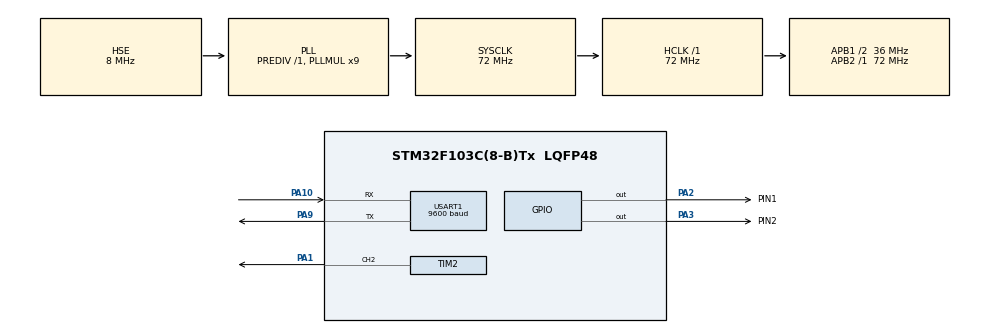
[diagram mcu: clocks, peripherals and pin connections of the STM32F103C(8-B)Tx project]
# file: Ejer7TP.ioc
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Dma.Request0=USART1_RX
Dma.Request1=USART1_TX
Dma.USART1_RX.0.Direction=DMA_PERIPH_TO_MEMORY
Dma.USART1_RX.0.Instance=DMA1_Channel5
Dma.USART1_RX.0.MemDataAlignment=DMA_MDATAALIGN_BYTE
Dma.USART1_RX.0.MemInc=DMA_MINC_ENABLE
Dma.USART1_RX.0.Mode=DMA_NORMAL
Dma.USART1_RX.0.PeriphDataAlignment=DMA_PDATAALIGN_BYTE
Dma.USART1_RX.0.PeriphInc=DMA_PINC_DISABLE
Dma.USART1_RX.0.Priority=DMA_PRIORITY_LOW
Dma.USART1_TX.1.Direction=DMA_MEMORY_TO_PERIPH
Dma.USART1_TX.1.Instance=DMA1_Channel4
Dma.USART1_TX.1.MemDataAlignment=DMA_MDATAALIGN_BYTE
Dma.USART1_TX.1.MemInc=DMA_MINC_ENABLE
Dma.USART1_TX.1.Mode=DMA_NORMAL
Dma.USART1_TX.1.PeriphDataAlignment=DMA_PDATAALIGN_BYTE
Dma.USART1_TX.1.PeriphInc=DMA_PINC_DISABLE
Dma.USART1_TX.1.Priority=DMA_PRIORITY_LOW
Mcu.Family=STM32F1
Mcu.Name=STM32F103C(8-B)Tx
Mcu.Package=LQFP48
NVIC.DMA1_Channel4_IRQn=true\:0\:0\:false\:false\:true\:false\:true\:true
NVIC.DMA1_Channel5_IRQn=true\:0\:0\:false\:false\:true\:false\:true\:true
NVIC.PriorityGroup=NVIC_PRIORITYGROUP_4
NVIC.TIM2_IRQn=true\:0\:0\:false\:false\:true\:true\:true\:true
NVIC.USART1_IRQn=true\:0\:0\:false\:false\:true\:true\:true\:true
PA1.Signal=S_TIM2_CH2
PA10.Mode=Asynchronous
PA10.Signal=USART1_RX
PA13.Mode=Serial_Wire
PA13.Signal=SYS_JTMS-SWDIO
PA14.Mode=Serial_Wire
PA14.Signal=SYS_JTCK-SWCLK
PA2.GPIO_Label=PIN1
PA2.Signal=GPIO_Output
PA3.GPIO_Label=PIN2
PA3.Signal=GPIO_Output
PA9.Mode=Asynchronous
PA9.Signal=USART1_TX
PD0-OSC_IN.Mode=HSE-External-Oscillator
PD0-OSC_IN.Signal=RCC_OSC_IN
PD1-OSC_OUT.Mode=HSE-External-Oscillator
PD1-OSC_OUT.Signal=RCC_OSC_OUT
ProjectManager.HeapSize=0x200
ProjectManager.StackSize=0x400
ProjectManager.TargetToolchain=STM32CubeIDE
RCC.AHBFreq_Value=72000000
RCC.APB1CLKDivider=RCC_HCLK_DIV2
RCC.APB1Freq_Value=36000000
RCC.APB1TimFreq_Value=72000000
RCC.APB2Freq_Value=72000000
RCC.APB2TimFreq_Value=72000000
RCC.HCLKFreq_Value=72000000
RCC.PLLMUL=RCC_PLL_MUL9
RCC.PLLSourceVirtual=RCC_PLLSOURCE_HSE
RCC.SYSCLKFreq_VALUE=72000000
RCC.SYSCLKSource=RCC_SYSCLKSOURCE_PLLCLK
RCC.USBFreq_Value=72000000
SH.S_TIM2_CH2.0=TIM2_CH2,PWM Generation2 CH2
TIM2.Channel-PWM\ Generation2\ CH2=TIM_CHANNEL_2
TIM2.Period=99
TIM2.Prescaler=71
USART1.BaudRate=9600
USART1.VirtualMode=VM_ASYNC
VP_TIM3_VS_ClockSourceINT.Mode=Internal
board=custom

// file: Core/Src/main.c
/* USER CODE BEGIN Header */
/**
  ******************************************************************************
  * @file           : main.c
  * @brief          : Main program body
  ******************************************************************************
  * @attention
  *
  * Copyright (c) 2024 STMicroelectronics.
  * All rights reserved.
  *
  * This software is licensed under terms that can be found in the LICENSE file
  * in the root directory of this software component.
  * If no LICENSE file comes with this software, it is provided AS-IS.
  *
  ******************************************************************************
  */
/* USER CODE END Header */
#include "main.h"

/* USER CODE BEGIN Includes */
#include "string.h"
#include <stdio.h>
#include "stdlib.h"
/* USER CODE END Includes */

TIM_HandleTypeDef htim2;
TIM_HandleTypeDef htim3;

UART_HandleTypeDef huart1;
DMA_HandleTypeDef hdma_usart1_rx;
DMA_HandleTypeDef hdma_usart1_tx;

void SystemClock_Config(void);
static void MX_GPIO_Init(void);
static void MX_DMA_Init(void);
static void MX_TIM2_Init(void);
static void MX_TIM3_Init(void);
static void MX_USART1_UART_Init(void);

/* USER CODE BEGIN 0 */

uint16_t motor_speed;
char dato_rx[10];
char msg1[50];
char msg2[50];

void HAL_UART_ReadString(UART_HandleTypeDef *huart, char *string, uint8_t size);

/* USER CODE END 0 */

int main(void)
{

  /* MCU Configuration--------------------------------------------------------*/

  /* Reset of all peripherals, Initializes the Flash interface and the Systick. */
  HAL_Init();

  /* Configure the system clock */
  SystemClock_Config();

  /* Initialize all configured peripherals */
  MX_GPIO_Init();
  MX_DMA_Init();
  MX_TIM2_Init();
  MX_TIM3_Init();
  MX_USART1_UART_Init();
  /* USER CODE BEGIN 2 */
  HAL_TIM_Base_Start_IT(&htim3);
  HAL_TIM_Base_Start_IT(&htim2);

  /* USER CODE END 2 */

  /* Infinite loop */
  /* USER CODE BEGIN WHILE */
  HAL_TIM_PWM_Start(&htim2, TIM_CHANNEL_2);

  while (1)

     {

         HAL_UART_ReadString(&huart1, dato_rx, 10);
         int motor_speed = atoi((char *)dato_rx);

         if (motor_speed >=0 && motor_speed <= 100) {
             HAL_GPIO_WritePin(GPIOA, PIN1_Pin, 1);
             HAL_GPIO_WritePin(GPIOA, PIN2_Pin, 0);
        	 __HAL_TIM_SET_COMPARE(&htim2, TIM_CHANNEL_2, motor_speed);
        	 sprintf(msg1, "Velocidad del motor: %u%%\r\n", motor_speed);
        	 HAL_UART_Transmit(&huart1, (uint8_t*)msg1, strlen(msg1), HAL_MAX_DELAY);

             } else {
             sprintf(msg2, "//No valido// Rango permitido: 0 a 100\r\n");
             HAL_UART_Transmit(&huart1, (uint8_t*)msg2, strlen(msg2), HAL_MAX_DELAY);
             }

    /* USER CODE END WHILE */

  }
}

void SystemClock_Config(void)
{
  RCC_OscInitTypeDef RCC_OscInitStruct = {0};
  RCC_ClkInitTypeDef RCC_ClkInitStruct = {0};

  /** Initializes the RCC Oscillators according to the specified parameters
  * in the RCC_OscInitTypeDef structure.
  */
  RCC_OscInitStruct.OscillatorType = RCC_OSCILLATORTYPE_HSE;
  RCC_OscInitStruct.HSEState = RCC_HSE_ON;
  RCC_OscInitStruct.HSEPredivValue = RCC_HSE_PREDIV_DIV1;
  RCC_OscInitStruct.HSIState = RCC_HSI_ON;
  RCC_OscInitStruct.PLL.PLLState = RCC_PLL_ON;
  RCC_OscInitStruct.PLL.PLLSource = RCC_PLLSOURCE_HSE;
  RCC_OscInitStruct.PLL.PLLMUL = RCC_PLL_MUL9;
  if (HAL_RCC_OscConfig(&RCC_OscInitStruct) != HAL_OK)
  {
    Error_Handler();
  }

  /** Initializes the CPU, AHB and APB buses clocks
  */
  RCC_ClkInitStruct.ClockType = RCC_CLOCKTYPE_HCLK|RCC_CLOCKTYPE_SYSCLK
                              |RCC_CLOCKTYPE_PCLK1|RCC_CLOCKTYPE_PCLK2;
  RCC_ClkInitStruct.SYSCLKSource = RCC_SYSCLKSOURCE_PLLCLK;
  RCC_ClkInitStruct.AHBCLKDivider = RCC_SYSCLK_DIV1;
  RCC_ClkInitStruct.APB1CLKDivider = RCC_HCLK_DIV2;
  RCC_ClkInitStruct.APB2CLKDivider = RCC_HCLK_DIV1;

  if (HAL_RCC_ClockConfig(&RCC_ClkInitStruct, FLASH_LATENCY_2) != HAL_OK)
  {
    Error_Handler();
  }
}

static void MX_TIM2_Init(void)
{

  TIM_MasterConfigTypeDef sMasterConfig = {0};
  TIM_OC_InitTypeDef sConfigOC = {0};

  htim2.Instance = TIM2;
  htim2.Init.Prescaler = 71;
  htim2.Init.CounterMode = TIM_COUNTERMODE_UP;
  htim2.Init.Period = 99;
  htim2.Init.ClockDivision = TIM_CLOCKDIVISION_DIV1;
  htim2.Init.AutoReloadPreload = TIM_AUTORELOAD_PRELOAD_DISABLE;
  if (HAL_TIM_PWM_Init(&htim2) != HAL_OK)
  {
    Error_Handler();
  }
  sMasterConfig.MasterOutputTrigger = TIM_TRGO_RESET;
  sMasterConfig.MasterSlaveMode = TIM_MASTERSLAVEMODE_DISABLE;
  if (HAL_TIMEx_MasterConfigSynchronization(&htim2, &sMasterConfig) != HAL_OK)
  {
    Error_Handler();
  }
  sConfigOC.OCMode = TIM_OCMODE_PWM1;
  sConfigOC.Pulse = 0;
  sConfigOC.OCPolarity = TIM_OCPOLARITY_HIGH;
  sConfigOC.OCFastMode = TIM_OCFAST_DISABLE;
  if (HAL_TIM_PWM_ConfigChannel(&htim2, &sConfigOC, TIM_CHANNEL_2) != HAL_OK)
  {
    Error_Handler();
  }
  HAL_TIM_MspPostInit(&htim2);

}

static void MX_TIM3_Init(void)
{

  TIM_ClockConfigTypeDef sClockSourceConfig = {0};
  TIM_MasterConfigTypeDef sMasterConfig = {0};

  htim3.Instance = TIM3;
  htim3.Init.Prescaler = 0;
  htim3.Init.CounterMode = TIM_COUNTERMODE_UP;
  htim3.Init.Period = 65535;
  htim3.Init.ClockDivision = TIM_CLOCKDIVISION_DIV1;
  htim3.Init.AutoReloadPreload = TIM_AUTORELOAD_PRELOAD_DISABLE;
  if (HAL_TIM_Base_Init(&htim3) != HAL_OK)
  {
    Error_Handler();
  }
  sClockSourceConfig.ClockSource = TIM_CLOCKSOURCE_INTERNAL;
  if (HAL_TIM_ConfigClockSource(&htim3, &sClockSourceConfig) != HAL_OK)
  {
    Error_Handler();
  }
  sMasterConfig.MasterOutputTrigger = TIM_TRGO_RESET;
  sMasterConfig.MasterSlaveMode = TIM_MASTERSLAVEMODE_DISABLE;
  if (HAL_TIMEx_MasterConfigSynchronization(&htim3, &sMasterConfig) != HAL_OK)
  {
    Error_Handler();
  }

}

static void MX_USART1_UART_Init(void)
{

  huart1.Instance = USART1;
  huart1.Init.BaudRate = 9600;
  huart1.Init.WordLength = UART_WORDLENGTH_8B;
  huart1.Init.StopBits = UART_STOPBITS_1;
  huart1.Init.Parity = UART_PARITY_NONE;
  huart1.Init.Mode = UART_MODE_TX_RX;
  huart1.Init.HwFlowCtl = UART_HWCONTROL_NONE;
  huart1.Init.OverSampling = UART_OVERSAMPLING_16;
  if (HAL_UART_Init(&huart1) != HAL_OK)
  {
    Error_Handler();
  }

}

static void MX_DMA_Init(void)
{

  /* DMA controller clock enable */
  __HAL_RCC_DMA1_CLK_ENABLE();

  /* DMA interrupt init */
  /* DMA1_Channel4_IRQn interrupt configuration */
  HAL_NVIC_SetPriority(DMA1_Channel4_IRQn, 0, 0);
  HAL_NVIC_EnableIRQ(DMA1_Channel4_IRQn);
  /* DMA1_Channel5_IRQn interrupt configuration */
  HAL_NVIC_SetPriority(DMA1_Channel5_IRQn, 0, 0);
  HAL_NVIC_EnableIRQ(DMA1_Channel5_IRQn);

}

static void MX_GPIO_Init(void)
{
  GPIO_InitTypeDef GPIO_InitStruct = {0};

  /* GPIO Ports Clock Enable */
  __HAL_RCC_GPIOD_CLK_ENABLE();
  __HAL_RCC_GPIOA_CLK_ENABLE();

  /*Configure GPIO pin Output Level */
  HAL_GPIO_WritePin(GPIOA, PIN1_Pin|PIN2_Pin, GPIO_PIN_RESET);

  /*Configure GPIO pins : PIN1_Pin PIN2_Pin */
  GPIO_InitStruct.Pin = PIN1_Pin|PIN2_Pin;
  GPIO_InitStruct.Mode = GPIO_MODE_OUTPUT_PP;
  GPIO_InitStruct.Pull = GPIO_NOPULL;
  GPIO_InitStruct.Speed = GPIO_SPEED_FREQ_LOW;
  HAL_GPIO_Init(GPIOA, &GPIO_InitStruct);

}

/* USER CODE BEGIN 4 */

void HAL_UART_ReadString(UART_HandleTypeDef *huart, char *string, uint8_t size)
{
    char caracter[1];
    uint8_t cont = 0;
    do
    	{
        HAL_UART_Receive(&huart1, (uint8_t*)caracter, 1, HAL_MAX_DELAY);
        string[cont++] = (char)caracter[0];
        if (cont>= size) break;
        }
    while (caracter[0] != '\n');
}
/* USER CODE END 4 */

void Error_Handler(void)
{
  __disable_irq();
  while (1)
  {
  }
}
